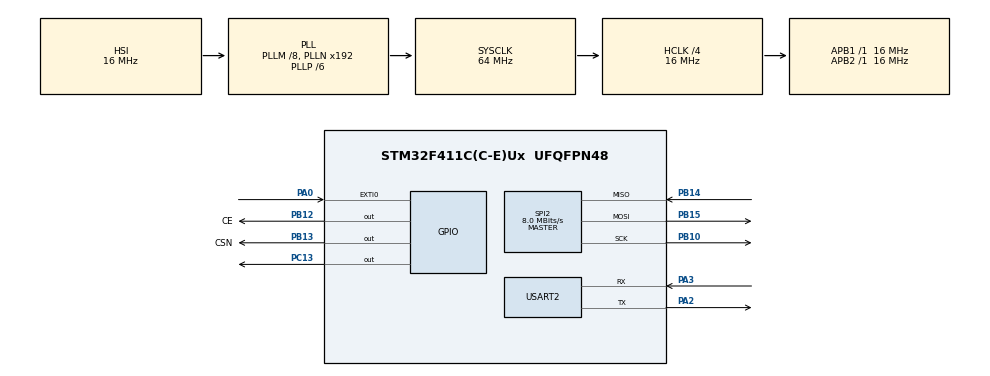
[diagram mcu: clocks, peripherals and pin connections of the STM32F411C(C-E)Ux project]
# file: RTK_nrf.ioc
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Mcu.Family=STM32F4
Mcu.Name=STM32F411C(C-E)Ux
Mcu.Package=UFQFPN48
NVIC.EXTI0_IRQn=true\:0\:0\:false\:false\:true\:true\:true\:true
NVIC.PriorityGroup=NVIC_PRIORITYGROUP_4
NVIC.SPI2_IRQn=true\:0\:0\:false\:false\:true\:true\:true\:true
NVIC.TIM3_IRQn=true\:0\:0\:false\:false\:true\:true\:true\:true
NVIC.USART2_IRQn=true\:0\:0\:false\:false\:true\:true\:true\:true
PA0-WKUP.GPIO_ModeDefaultEXTI=GPIO_MODE_IT_FALLING
PA0-WKUP.Signal=GPXTI0
PA2.Mode=Asynchronous
PA2.Signal=USART2_TX
PA3.Mode=Asynchronous
PA3.Signal=USART2_RX
PB10.Mode=Full_Duplex_Master
PB10.Signal=SPI2_SCK
PB12.GPIO_Label=CE
PB12.GPIO_Speed=GPIO_SPEED_FREQ_HIGH
PB12.Signal=GPIO_Output
PB13.GPIO_Label=CSN
PB13.GPIO_Speed=GPIO_SPEED_FREQ_HIGH
PB13.Signal=GPIO_Output
PB14.Mode=Full_Duplex_Master
PB14.Signal=SPI2_MISO
PB15.Mode=Full_Duplex_Master
PB15.Signal=SPI2_MOSI
PC13-ANTI_TAMP.Signal=GPIO_Output
ProjectManager.HeapSize=0x200
ProjectManager.StackSize=0x400
ProjectManager.TargetToolchain=STM32CubeIDE
RCC.48MHZClocksFreq_Value=96000000
RCC.AHBCLKDivider=RCC_SYSCLK_DIV4
RCC.AHBFreq_Value=16000000
RCC.APB1Freq_Value=16000000
RCC.APB1TimFreq_Value=16000000
RCC.APB2Freq_Value=16000000
RCC.APB2TimFreq_Value=16000000
RCC.CortexFreq_Value=16000000
RCC.HCLKFreq_Value=16000000
RCC.HSE_VALUE=25000000
RCC.HSI_VALUE=16000000
RCC.LSE_VALUE=32768
RCC.PLLM=8
RCC.PLLP=RCC_PLLP_DIV6
RCC.SYSCLKFreq_VALUE=64000000
RCC.SYSCLKSource=RCC_SYSCLKSOURCE_PLLCLK
RCC.VCOOutputFreq_Value=384000000
SPI2.BaudRatePrescaler=SPI_BAUDRATEPRESCALER_2
SPI2.CalculateBaudRate=8.0 MBits/s
SPI2.Direction=SPI_DIRECTION_2LINES
SPI2.Mode=SPI_MODE_MASTER
SPI2.VirtualType=VM_MASTER
TIM3.Period=2599
TIM3.Prescaler=1599
USART2.VirtualMode=VM_ASYNC
VP_TIM3_VS_ClockSourceINT.Mode=Internal
board=custom

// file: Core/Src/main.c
/* USER CODE BEGIN Header */
/**
  ******************************************************************************
  * @file           : main.c
  * @brief          : Main program body
  ******************************************************************************
  * @attention
  *
  * Copyright (c) 2024 STMicroelectronics.
  * All rights reserved.
  *
  * This software is licensed under terms that can be found in the LICENSE file
  * in the root directory of this software component.
  * If no LICENSE file comes with this software, it is provided AS-IS.
  *
  ******************************************************************************
  */
/* USER CODE END Header */
#include "main.h"

/* USER CODE BEGIN Includes */
#include <stdio.h>
#include <string.h>
#include "NRF24.h"
#include "NRF24_reg_addresses.h"
/* USER CODE END Includes */

/* USER CODE BEGIN PD */

#define NRF_SIZE 32
#define MAX_SIZE 1000
#define GGA_SIZE 200

#define INTERVAL_MODE_5 2 // = 1s

#define RX
#define Quectel
/* USER CODE END PD */

SPI_HandleTypeDef hspi2;

TIM_HandleTypeDef htim3;

UART_HandleTypeDef huart2;

void SystemClock_Config(void);
static void MX_GPIO_Init(void);
static void MX_SPI2_Init(void);
static void MX_USART2_UART_Init(void);
static void MX_TIM3_Init(void);
/* USER CODE BEGIN PFP */

#ifdef TX
uint8_t Send_RTCM(uint8_t* data, uint16_t size);
#endif

#ifdef RX
uint8_t Check_End_Index(uint8_t* packet, uint16_t size, uint16_t start);
void handleUARTError(UART_HandleTypeDef *huart);
#endif

/* USER CODE END PFP */

/* USER CODE BEGIN 0 */
#ifdef TX
uint8_t nrf_tx_data[MAX_SIZE] = {};
uint8_t ack_Tx[NRF_SIZE];
#endif

#ifdef RX
uint8_t nrf_rx_packet[NRF_SIZE];
uint8_t nrf_rx_data[MAX_SIZE];
uint16_t nrf_packet_id = 0;

uint8_t rover_gga_message[GGA_SIZE];
uint8_t rover_mode;
uint8_t interval_mode_5 = INTERVAL_MODE_5;

uint8_t ack_Rx[NRF_SIZE] = { "Received" };
volatile uint8_t gga_index = 0;      // Tracks the current index for incoming data
volatile uint8_t data_ready = 0;    // Flag to signal that a string is ready
#endif

#ifdef TEST_TX
uint8_t tx_test[NRF_SIZE] = {"Hello"};
#endif

#ifdef TEST_RX
uint8_t rx_test[NRF_SIZE] = {};
#endif

uint16_t rtcm_end_id = 0;

uint8_t GGA_set_command[18] = { 0x24, 0x50, 0x41, 0x49, 0x52, 0x30, 0x36, 0x32, 0x2C, 0x30, 0x2C, 0x30, 0x31, 0x2A, 0x30, 0x46, 0x0D, 0x0A }; //$PAIR062,0,01*0F
uint8_t GGA_start[6] = { 0x24, 0x47, 0x4E, 0x47, 0x47, 0x41 };
/* USER CODE END 0 */

int main(void)
{

  /* MCU Configuration--------------------------------------------------------*/

  /* Reset of all peripherals, Initializes the Flash interface and the Systick. */
  HAL_Init();

  /* Configure the system clock */
  SystemClock_Config();

  /* Initialize all configured peripherals */
  MX_GPIO_Init();
  MX_SPI2_Init();
  MX_USART2_UART_Init();
  MX_TIM3_Init();
  /* USER CODE BEGIN 2 */

  csn_high();
  nrf24_init();
  nrf24_tx_pwr(_0dbm);
  nrf24_data_rate(_1mbps);
  nrf24_set_channel(78);
  nrf24_set_crc(en_crc, _1byte);
  nrf24_pipe_pld_size(0, NRF_SIZE);
  uint8_t addr[5] = { 0x10, 0x21, 0x32, 0x43, 0x54 };
  nrf24_open_tx_pipe(addr);
  nrf24_open_rx_pipe(0, addr);

  HAL_Delay(1000); // waiting initial Station
#ifdef TEST_TX
  nrf24_stop_listen();
#endif

#ifdef TEST_RX
  nrf24_listen();
#endif

#ifdef TX
  nrf24_stop_listen();

#ifdef Quectel
  HAL_UART_Transmit(&huart2, GGA_set_command, sizeof(GGA_set_command) / sizeof(uint8_t), 100);
  HAL_Delay(500); // waiting initial GGA Command
#endif

#endif

#ifdef RX
  nrf24_listen();
  HAL_UART_Receive_IT(&huart2, &rover_gga_message[gga_index], 1);
  HAL_TIM_Base_Start_IT(&htim3);
#endif

  /* USER CODE END 2 */

  /* Infinite loop */
  /* USER CODE BEGIN WHILE */
  while (1)
  {
#ifdef TEST_TX
	  nrf24_transmit(tx_test, sizeof(tx_test));
	  HAL_Delay(1);
#endif
#ifdef TEST_RX
	  nrf24_listen();
	  if (nrf24_data_available()){
		  nrf24_receive(rx_test, sizeof(rx_test));

		  char tmp[40];
		  sprintf(tmp, " %s .\r\n", rx_test);

		  HAL_UART_Transmit(&huart2, rx_test, NRF_SIZE, 100);

		  for (uint8_t i = 0; i < sizeof(rx_test); i++){
			  rx_test[i] = '\0';
		  }
		  HAL_Delay(5);
	  }
#endif
#ifdef TX

	  HAL_UART_Receive(&huart2, (uint8_t *)&nrf_tx_data, MAX_SIZE, 250);
	  // get end of data
	  uint8_t d3_count = 0;
	  for (int i = 0; i < MAX_SIZE; i++){
		 if (nrf_tx_data[i] == 0x00 && nrf_tx_data[i - 1] == 0xD3)
			  d3_count++;
		 if(d3_count >= 5 && nrf_tx_data[i] == 0x0A && nrf_tx_data[i-1] == 0x0D)
		 {
			 rtcm_end_id = i + 1;
			 break;
		 }
	  }
	  if (rtcm_end_id != 0){
		  // separate data and send chunk
		  uint8_t check[rtcm_end_id]; // to extend to send
		  memcpy(check, nrf_tx_data, sizeof(check));

		  //uint8_t ret = Send_RTCM(check, rtcm_end_id);

		  Send_RTCM(check, rtcm_end_id);
		  // clear buffer
		  for (int i = 0; i < rtcm_end_id; i++){
			  nrf_tx_data[i] = '\0';
		  }
		  d3_count = 0;
		  rtcm_end_id = 0;

		  HAL_Delay(1);
	  }
#endif
#ifdef RX
	  // NRF Receiver Processing
	  nrf24_listen();
	  if (nrf24_data_available()){
		  nrf24_receive(nrf_rx_packet, sizeof(nrf_rx_packet));

		  //HAL_UART_Transmit(&huart2, nrf_rx_packet, NRF_SIZE, 10);

		  memcpy(&nrf_rx_data[nrf_packet_id], nrf_rx_packet, sizeof(nrf_rx_packet) / sizeof(uint8_t));
		  nrf_packet_id += NRF_SIZE;

		  if (Check_End_Index(nrf_rx_data, MAX_SIZE, 0) == 1){

			  HAL_UART_Transmit(&huart2, nrf_rx_data, rtcm_end_id, 250);

			  for (uint16_t i = 0; i < rtcm_end_id; i++){
				  nrf_rx_data[i] = '\0';
			  }

			  nrf_packet_id = 0;
			  rtcm_end_id = 0;
		  }

		  for (uint8_t i = 0; i < NRF_SIZE; i++){
			  nrf_rx_packet[i] = '\0';
		  }
	  }

	  // UART (Rover GGA) Receiver Processing
	  if (data_ready) {

		  data_ready = 0;  // Reset flag

		  int comma_count = 0;
		  for(int j = 0; j < GGA_SIZE; j++){
			  if (rover_gga_message[j] == 0x2C){ // 2C is ','
				  comma_count++;
				  if (comma_count == 6) // from $GNGGA to Rover Mode
				  {
					  rover_mode = rover_gga_message[j + 1];
					  HAL_UART_Receive_IT(&huart2, &rover_gga_message[gga_index], 1);
					  break;
				  }
			  }
		  }
		  memset(rover_gga_message, 0, sizeof(rover_gga_message));
	  }

#endif
    /* USER CODE END WHILE */

  }
}

void SystemClock_Config(void)
{
  RCC_OscInitTypeDef RCC_OscInitStruct = {0};
  RCC_ClkInitTypeDef RCC_ClkInitStruct = {0};

  /** Configure the main internal regulator output voltage
  */
  __HAL_RCC_PWR_CLK_ENABLE();
  __HAL_PWR_VOLTAGESCALING_CONFIG(PWR_REGULATOR_VOLTAGE_SCALE1);

  /** Initializes the RCC Oscillators according to the specified parameters
  * in the RCC_OscInitTypeDef structure.
  */
  RCC_OscInitStruct.OscillatorType = RCC_OSCILLATORTYPE_HSI;
  RCC_OscInitStruct.HSIState = RCC_HSI_ON;
  RCC_OscInitStruct.HSICalibrationValue = RCC_HSICALIBRATION_DEFAULT;
  RCC_OscInitStruct.PLL.PLLState = RCC_PLL_ON;
  RCC_OscInitStruct.PLL.PLLSource = RCC_PLLSOURCE_HSI;
  RCC_OscInitStruct.PLL.PLLM = 8;
  RCC_OscInitStruct.PLL.PLLN = 192;
  RCC_OscInitStruct.PLL.PLLP = RCC_PLLP_DIV6;
  RCC_OscInitStruct.PLL.PLLQ = 4;
  if (HAL_RCC_OscConfig(&RCC_OscInitStruct) != HAL_OK)
  {
    Error_Handler();
  }

  /** Initializes the CPU, AHB and APB buses clocks
  */
  RCC_ClkInitStruct.ClockType = RCC_CLOCKTYPE_HCLK|RCC_CLOCKTYPE_SYSCLK
                              |RCC_CLOCKTYPE_PCLK1|RCC_CLOCKTYPE_PCLK2;
  RCC_ClkInitStruct.SYSCLKSource = RCC_SYSCLKSOURCE_PLLCLK;
  RCC_ClkInitStruct.AHBCLKDivider = RCC_SYSCLK_DIV4;
  RCC_ClkInitStruct.APB1CLKDivider = RCC_HCLK_DIV1;
  RCC_ClkInitStruct.APB2CLKDivider = RCC_HCLK_DIV1;

  if (HAL_RCC_ClockConfig(&RCC_ClkInitStruct, FLASH_LATENCY_0) != HAL_OK)
  {
    Error_Handler();
  }
}

static void MX_SPI2_Init(void)
{

  /* SPI2 parameter configuration*/
  hspi2.Instance = SPI2;
  hspi2.Init.Mode = SPI_MODE_MASTER;
  hspi2.Init.Direction = SPI_DIRECTION_2LINES;
  hspi2.Init.DataSize = SPI_DATASIZE_8BIT;
  hspi2.Init.CLKPolarity = SPI_POLARITY_LOW;
  hspi2.Init.CLKPhase = SPI_PHASE_1EDGE;
  hspi2.Init.NSS = SPI_NSS_SOFT;
  hspi2.Init.BaudRatePrescaler = SPI_BAUDRATEPRESCALER_2;
  hspi2.Init.FirstBit = SPI_FIRSTBIT_MSB;
  hspi2.Init.TIMode = SPI_TIMODE_DISABLE;
  hspi2.Init.CRCCalculation = SPI_CRCCALCULATION_DISABLE;
  hspi2.Init.CRCPolynomial = 10;
  if (HAL_SPI_Init(&hspi2) != HAL_OK)
  {
    Error_Handler();
  }

}

static void MX_TIM3_Init(void)
{

  TIM_ClockConfigTypeDef sClockSourceConfig = {0};
  TIM_MasterConfigTypeDef sMasterConfig = {0};

  htim3.Instance = TIM3;
  htim3.Init.Prescaler = 1599;
  htim3.Init.CounterMode = TIM_COUNTERMODE_UP;
  htim3.Init.Period = 2599;
  htim3.Init.ClockDivision = TIM_CLOCKDIVISION_DIV1;
  htim3.Init.AutoReloadPreload = TIM_AUTORELOAD_PRELOAD_DISABLE;
  if (HAL_TIM_Base_Init(&htim3) != HAL_OK)
  {
    Error_Handler();
  }
  sClockSourceConfig.ClockSource = TIM_CLOCKSOURCE_INTERNAL;
  if (HAL_TIM_ConfigClockSource(&htim3, &sClockSourceConfig) != HAL_OK)
  {
    Error_Handler();
  }
  sMasterConfig.MasterOutputTrigger = TIM_TRGO_RESET;
  sMasterConfig.MasterSlaveMode = TIM_MASTERSLAVEMODE_DISABLE;
  if (HAL_TIMEx_MasterConfigSynchronization(&htim3, &sMasterConfig) != HAL_OK)
  {
    Error_Handler();
  }

}

static void MX_USART2_UART_Init(void)
{

  huart2.Instance = USART2;
  huart2.Init.BaudRate = 115200;
  huart2.Init.WordLength = UART_WORDLENGTH_8B;
  huart2.Init.StopBits = UART_STOPBITS_1;
  huart2.Init.Parity = UART_PARITY_NONE;
  huart2.Init.Mode = UART_MODE_TX_RX;
  huart2.Init.HwFlowCtl = UART_HWCONTROL_NONE;
  huart2.Init.OverSampling = UART_OVERSAMPLING_16;
  if (HAL_UART_Init(&huart2) != HAL_OK)
  {
    Error_Handler();
  }

}

static void MX_GPIO_Init(void)
{
  GPIO_InitTypeDef GPIO_InitStruct = {0};

  /* GPIO Ports Clock Enable */
  __HAL_RCC_GPIOC_CLK_ENABLE();
  __HAL_RCC_GPIOA_CLK_ENABLE();
  __HAL_RCC_GPIOB_CLK_ENABLE();

  /*Configure GPIO pin Output Level */
  HAL_GPIO_WritePin(GPIOC, GPIO_PIN_13, GPIO_PIN_RESET);

  /*Configure GPIO pin Output Level */
  HAL_GPIO_WritePin(GPIOB, CE_Pin|CSN_Pin, GPIO_PIN_RESET);

  /*Configure GPIO pin : PC13 */
  GPIO_InitStruct.Pin = GPIO_PIN_13;
  GPIO_InitStruct.Mode = GPIO_MODE_OUTPUT_PP;
  GPIO_InitStruct.Pull = GPIO_NOPULL;
  GPIO_InitStruct.Speed = GPIO_SPEED_FREQ_LOW;
  HAL_GPIO_Init(GPIOC, &GPIO_InitStruct);

  /*Configure GPIO pin : PA0 */
  GPIO_InitStruct.Pin = GPIO_PIN_0;
  GPIO_InitStruct.Mode = GPIO_MODE_IT_FALLING;
  GPIO_InitStruct.Pull = GPIO_NOPULL;
  HAL_GPIO_Init(GPIOA, &GPIO_InitStruct);

  /*Configure GPIO pins : CE_Pin CSN_Pin */
  GPIO_InitStruct.Pin = CE_Pin|CSN_Pin;
  GPIO_InitStruct.Mode = GPIO_MODE_OUTPUT_PP;
  GPIO_InitStruct.Pull = GPIO_NOPULL;
  GPIO_InitStruct.Speed = GPIO_SPEED_FREQ_HIGH;
  HAL_GPIO_Init(GPIOB, &GPIO_InitStruct);

  /* EXTI interrupt init*/
  HAL_NVIC_SetPriority(EXTI0_IRQn, 0, 0);
  HAL_NVIC_EnableIRQ(EXTI0_IRQn);

}

/* USER CODE BEGIN 4 */

#ifdef RX
uint8_t Check_End_Index(uint8_t* data, uint16_t size, uint16_t start)
{
	uint8_t d3_count = 0;
	for (int i = start; i < size; i++){
		if (data[i] == 0xD3)
			d3_count++;

		if(d3_count >=5 && data[i-1] == 0x0D && data[i] == 0x0A)
		{
			rtcm_end_id = i + 1;
			break;
		}
	}

	if (rtcm_end_id != 0)
		return 1;
	else
		return 0;
}

void HAL_TIM_PeriodElapsedCallback(TIM_HandleTypeDef *htim)
{
	if(htim->Instance == TIM3)
	{
		switch (rover_mode)
		{
			case '0':
				HAL_GPIO_WritePin(GPIOC, GPIO_PIN_13, GPIO_PIN_SET);
			break;
			case '4':
				HAL_GPIO_WritePin(GPIOC, GPIO_PIN_13, GPIO_PIN_RESET);
				break;
			case '5':
				interval_mode_5--;
				if (interval_mode_5 == 0){
					interval_mode_5 = INTERVAL_MODE_5;
					HAL_GPIO_TogglePin(GPIOC, GPIO_PIN_13);
				}
				break;
			default:
				HAL_GPIO_TogglePin(GPIOC, GPIO_PIN_13);
				break;
		}
	}
}

void HAL_UART_RxCpltCallback(UART_HandleTypeDef *huart){
    if(huart->Instance == USART2){
    	if (__HAL_UART_GET_FLAG(huart, UART_FLAG_FE) ||
			__HAL_UART_GET_FLAG(huart, UART_FLAG_ORE) ||
			__HAL_UART_GET_FLAG(huart, UART_FLAG_NE)) {

			// Handle UART errors (e.g., reset UART, alert user)
			handleUARTError(huart);
		}
		// Check if the buffer is full
		if (rover_gga_message[gga_index] == 0x0A
				&& rover_gga_message[gga_index - 1] == 0x0D) {
			data_ready = 1;  // Set flag to indicate data reception is complete
			gga_index = 0;
		}
		else {
	    	gga_index++;
			// Continue receiving next byte if buffer is not yet full
			HAL_UART_Receive_IT(&huart2, &rover_gga_message[gga_index], 1);
		}
    }
}
void HAL_UART_ErrorCallback(UART_HandleTypeDef *huart) {
    if (huart->Instance == USART1) {
        // Handle error if UART has a problem (e.g., disconnection)
        handleUARTError(huart);
    }
}

void handleUARTError(UART_HandleTypeDef *huart) {
    // Disable UART interrupts to stop triggering further
    __HAL_UART_DISABLE_IT(huart, UART_IT_RXNE);

    // Optionally, reset UART (if needed)
    __HAL_UART_CLEAR_OREFLAG(huart);
    __HAL_UART_CLEAR_NEFLAG(huart);
    __HAL_UART_CLEAR_FEFLAG(huart);
    __HAL_UART_CLEAR_PEFLAG(huart);

    // Re-enable UART for reception
    HAL_UART_Receive_IT(huart, &rover_gga_message[gga_index], 1);
}
#endif

#ifdef TX
uint8_t Send_RTCM(uint8_t* data, uint16_t size)
{
	uint8_t ret = 0;
	uint8_t chunk[NRF_SIZE];

	for (uint16_t i = 0; i < size; i += NRF_SIZE) {

		uint16_t packet_size = 0;

		if (size - i < NRF_SIZE){
			packet_size = size - i;
		}
		else{
			packet_size = NRF_SIZE;
		}

		memcpy(chunk, data + i, packet_size * sizeof(uint8_t));

		// Send the 32-byte chunk

		//HAL_UART_Transmit(&huart2, chunk, NRF_SIZE, 5);
		ret = nrf24_transmit(chunk, sizeof(chunk));
		if (ret == 0){
			return ret;
		}

		for(uint8_t j = 0; j < NRF_SIZE; j++){
			chunk[j] = '\0';
		}

		// Short delay if necessary to avoid overload
		HAL_Delay(1);
	}
	return ret;
}
#endif
/* USER CODE END 4 */

void Error_Handler(void)
{
  __disable_irq();
  while (1)
  {
  }
}
